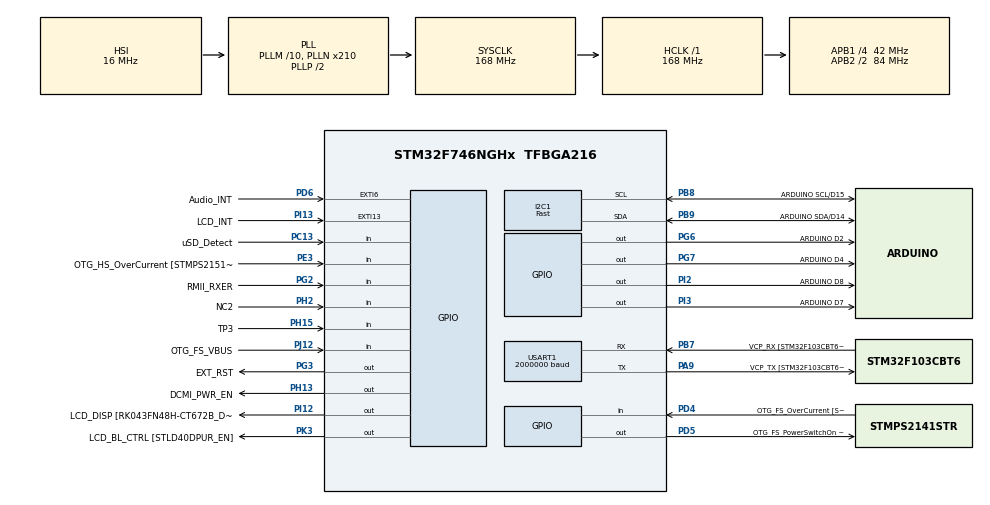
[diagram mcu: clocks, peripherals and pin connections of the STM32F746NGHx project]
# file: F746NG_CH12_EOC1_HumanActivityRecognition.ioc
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CORTEX_M7.CPU_DCache=Enabled
CORTEX_M7.CPU_ICache=Enabled
I2C1.I2C_Speed_Mode=I2C_Fast
I2C1.Timing=0x0040154A
Mcu.Family=STM32F7
Mcu.Name=STM32F746NGHx
Mcu.Package=TFBGA216
NVIC.PriorityGroup=NVIC_PRIORITYGROUP_4
NVIC.TIM2_IRQn=true\:1\:0\:true\:false\:true\:true\:true
PA0/WKUP.GPIO_Label=ARDUINO A0
PA0/WKUP.GPIO_Mode=GPIO_MODE_ANALOG
PA0/WKUP.GPIO_PuPd=GPIO_NOPULL
PA0/WKUP.Signal=ADCx_IN0
PA1.GPIO_Label=RMII_REF_CLK [LAN8742A-CZ-TR_REFCLK0]
PA1.Signal=ETH_REF_CLK
PA10.GPIO_Label=OTG_FS_ID
PA10.Signal=USB_OTG_FS_ID
PA11.GPIO_Label=OTG_FS_N
PA11.Signal=USB_OTG_FS_DM
PA12.GPIO_Label=OTG_FS_P
PA12.Signal=USB_OTG_FS_DP
PA13.GPIO_Label=SWDIO
PA13.Signal=SYS_JTMS-SWDIO
PA14.GPIO_Label=SWCLK
PA14.Signal=SYS_JTCK-SWCLK
PA15.GPIO_Label=ARDUINO PWM/D9
PA15.GPIO_ModeDefaultPP=GPIO_MODE_AF_PP
PA15.GPIO_PuPd=GPIO_NOPULL
PA15.GPIO_Speed=GPIO_SPEED_FREQ_LOW
PA15.Signal=S_TIM2_CH1_ETR
PA2.GPIO_Label=RMII_MDIO [LAN8742A-CZ-TR_MDIO]
PA2.Signal=ETH_MDIO
PA3.GPIO_Label=ULPI_D0 [USB3320C-EZK_D0]
PA3.Signal=USB_OTG_HS_ULPI_D0
PA4.GPIO_Label=DCMI_HSYNC
PA4.Signal=DCMI_HSYNC
PA5.GPIO_Label=ULPI_CLK [USB3320C-EZK_CLKOUT]
PA5.Signal=USB_OTG_HS_ULPI_CK
PA6.Signal=DCMI_PIXCLK
PA7.GPIO_Label=RMII_CRS_DV [LAN8742A-CZ-TR_CRS_DV]
PA7.Signal=ETH_CRS_DV
PA8.GPIO_Label=ARDUINO PWM/D10
PA8.GPIO_ModeDefaultPP=GPIO_MODE_AF_PP
PA8.GPIO_PuPd=GPIO_NOPULL
PA8.GPIO_Speed=GPIO_SPEED_FREQ_LOW
PA8.Signal=S_TIM1_CH1
PA9.GPIO_Label=VCP_TX [STM32F103CBT6_PA3]
PA9.GPIO_Mode=GPIO_MODE_AF_PP
PA9.GPIO_PuPd=GPIO_NOPULL
PA9.GPIO_Speed=GPIO_SPEED_FREQ_LOW
PA9.Mode=Asynchronous
PA9.Signal=USART1_TX
PB0.GPIO_Label=ULPI_D1 [USB3320C-EZK_D1]
PB0.Signal=USB_OTG_HS_ULPI_D1
PB1.GPIO_Label=ULPI_D2 [USB3320C-EZK_D2]
PB1.Signal=USB_OTG_HS_ULPI_D2
PB10.GPIO_Label=ULPI_D3 [USB3320C-EZK_D3]
PB10.Signal=USB_OTG_HS_ULPI_D3
PB11.GPIO_Label=ULPI_D4 [USB3320C-EZK_D4]
PB11.Signal=USB_OTG_HS_ULPI_D4
PB12.GPIO_Label=ULPI_D5 [USB3320C-EZK_D5]
PB12.Signal=USB_OTG_HS_ULPI_D5
PB13.GPIO_Label=ULPI_D6 [USB3320C-EZK_D6]
PB13.Signal=USB_OTG_HS_ULPI_D6
PB14.GPIO_Label=ARDUINO MISO/D12
PB14.GPIO_Mode=GPIO_MODE_AF_PP
PB14.GPIO_PuPd=GPIO_NOPULL
PB14.GPIO_Speed=GPIO_SPEED_FREQ_LOW
PB14.Signal=SPI2_MISO
PB15.GPIO_Label=ARDUINO MOSI/PWM/D11
PB15.GPIO_Mode=GPIO_MODE_AF_PP
PB15.GPIO_PuPd=GPIO_NOPULL
PB15.GPIO_Speed=GPIO_SPEED_FREQ_LOW
PB15.Signal=SPI2_MOSI
PB2.Signal=QUADSPI_CLK
PB3.GPIO_Label=SWO
PB3.Signal=SYS_JTDO-SWO
PB4.GPIO_Label=ARDUINO PWM/D3
PB4.GPIO_ModeDefaultPP=GPIO_MODE_AF_PP
PB4.GPIO_PuPd=GPIO_NOPULL
PB4.GPIO_Speed=GPIO_SPEED_FREQ_LOW
PB4.Signal=S_TIM3_CH1
PB5.GPIO_Label=ULPI_D7 [USB3320C-EZK_D7]
PB5.Signal=USB_OTG_HS_ULPI_D7
PB6.GPIO_Label=QSPI_NCS [N25Q128A13EF840E_S]
PB6.Signal=QUADSPI_BK1_NCS
PB7.GPIO_Label=VCP_RX [STM32F103CBT6_PA2]
PB7.GPIO_Mode=GPIO_MODE_AF_PP
PB7.GPIO_PuPd=GPIO_NOPULL
PB7.GPIO_Speed=GPIO_SPEED_FREQ_LOW
PB7.Mode=Asynchronous
PB7.Signal=USART1_RX
PB8.GPIO_Label=ARDUINO SCL/D15
PB8.GPIO_Mode=GPIO_MODE_AF_OD
PB8.GPIO_PuPd=GPIO_NOPULL
PB8.GPIO_Speed=GPIO_SPEED_FREQ_LOW
PB8.Mode=I2C
PB8.Signal=I2C1_SCL
PB9.GPIO_Label=ARDUINO SDA/D14
PB9.GPIO_Mode=GPIO_MODE_AF_OD
PB9.GPIO_PuPd=GPIO_NOPULL
PB9.GPIO_Speed=GPIO_SPEED_FREQ_LOW
PB9.Mode=I2C
PB9.Signal=I2C1_SDA
PC0.GPIO_Label=ULPI_STP [USB3320C-EZK_STP]
PC0.Signal=USB_OTG_HS_ULPI_STP
PC1.GPIO_Label=RMII_MDC [LAN8742A-CZ-TR_MDC]
PC1.Signal=ETH_MDC
PC10.GPIO_Label=SDMMC_D2
PC10.Signal=SDMMC1_D2
PC11.GPIO_Label=SDMMC_D3
PC11.Signal=SDMMC1_D3
PC12.GPIO_Label=SDMMC_CK
PC12.Signal=SDMMC1_CK
PC13.GPIO_Label=uSD_Detect
PC13.Signal=GPIO_Input
PC14/OSC32_IN.GPIO_Label=RCC_OSC32_IN
PC14/OSC32_IN.Signal=RCC_OSC32_IN
PC15/OSC32_OUT.GPIO_Label=RCC_OSC32_OUT
PC15/OSC32_OUT.Signal=RCC_OSC32_OUT
PC2.GPIO_Label=ULPI_DIR [USB3320C-EZK_DIR]
PC2.Signal=USB_OTG_HS_ULPI_DIR
PC3.GPIO_Label=FMC_SDCKE0 [MT48LC4M32B2B5-6A_CKE]
PC3.Signal=FMC_SDCKE0
PC4.GPIO_Label=RMII_RXD0 [LAN8742A-CZ-TR_RXD0]
PC4.Signal=ETH_RXD0
PC5.GPIO_Label=RMII_RXD1 [LAN8742A-CZ-TR_RXD1]
PC5.Signal=ETH_RXD1
PC6.GPIO_Label=ARDUINO TX/D1
PC6.Signal=USART6_TX
PC7.GPIO_Label=ARDUINO RX/D0
PC7.Signal=USART6_RX
PC8.Signal=SDMMC1_D0
PC9.Signal=SDMMC1_D1
PD0.GPIO_Label=FMC_D2 [MT48LC4M32B2B5-6A_DQ2]
PD0.Signal=FMC_D2_DA2
PD1.GPIO_Label=FMC_D3 [MT48LC4M32B2B5-6A_DQ3]
PD1.Signal=FMC_D3_DA3
PD10.GPIO_Label=FMC_D15 [MT48LC4M32B2B5-6A_DQ15]
PD10.Signal=FMC_D15_DA15
PD11.GPIO_Label=QSPI_D0 [N25Q128A13EF840E_DQ0]
PD11.Signal=QUADSPI_BK1_IO0
PD12.GPIO_Label=QSPI_D1 [N25Q128A13EF840E_DQ1]
PD12.Signal=QUADSPI_BK1_IO1
PD13.GPIO_Label=QSPI_D3 [N25Q128A13EF840E_DQ3]
PD13.Signal=QUADSPI_BK1_IO3
PD14.GPIO_Label=FMC_D0 [MT48LC4M32B2B5-6A_DQ0]
PD14.Signal=FMC_D0_DA0
PD15.GPIO_Label=FMC_D1 [MT48LC4M32B2B5-6A_DQ1]
PD15.Signal=FMC_D1_DA1
PD2.GPIO_Label=SDMMC_D0
PD2.Signal=SDMMC1_CMD
PD3.GPIO_Label=DCMI_D5
PD3.Signal=DCMI_D5
PD4.GPIO_Label=OTG_FS_OverCurrent [STMPS2141STR_Fault]
PD4.Signal=GPIO_Input
PD5.GPIO_Label=OTG_FS_PowerSwitchOn [STMPS2141STR_EN]
PD5.PinState=GPIO_PIN_SET
PD5.Signal=GPIO_Output
PD6.GPIO_Label=Audio_INT
PD6.GPIO_ModeDefaultEXTI=GPIO_MODE_EVT_RISING
PD6.Signal=GPXTI6
PD7.GPIO_Label=SPDIF_RX0 [74LVC1G04SE_4]
PD7.Signal=SPDIFRX_IN0
PD8.GPIO_Label=FMC_D13 [MT48LC4M32B2B5-6A_DQ13]
PD8.Signal=FMC_D13_DA13
PD9.GPIO_Label=FMC_D14 [MT48LC4M32B2B5-6A_DQ14]
PD9.Signal=FMC_D14_DA14
PE0.GPIO_Label=FMC_NBL0 [MT48LC4M32B2B5-6A_DQM0]
PE0.Signal=FMC_NBL0
PE1.GPIO_Label=FMC_NBL1 [MT48LC4M32B2B5-6A_DQM1]
PE1.Signal=FMC_NBL1
PE10.GPIO_Label=FMC_D7 [MT48LC4M32B2B5-6A_DQ7]
PE10.Signal=FMC_D7_DA7
PE11.GPIO_Label=FMC_D8 [MT48LC4M32B2B5-6A_DQ8]
PE11.Signal=FMC_D8_DA8
PE12.GPIO_Label=FMC_D9 [MT48LC4M32B2B5-6A_DQ9]
PE12.Signal=FMC_D9_DA9
PE13.GPIO_Label=FMC_D10 [MT48LC4M32B2B5-6A_DQ10]
PE13.Signal=FMC_D10_DA10
PE14.GPIO_Label=FMC_D11 [MT48LC4M32B2B5-6A_DQ11]
PE14.Signal=FMC_D11_DA11
PE15.GPIO_Label=FMC_D12 [MT48LC4M32B2B5-6A_DQ12]
PE15.Signal=FMC_D12_DA12
PE2.GPIO_Label=QSPI_D2 [N25Q128A13EF840E_DQ2]
PE2.Signal=QUADSPI_BK1_IO2
PE3.GPIO_Label=OTG_HS_OverCurrent [STMPS2151STR_FAULT]
PE3.Signal=GPIO_Input
PE4.GPIO_Label=LCD_B0 [RK043FN48H-CT672B_B0]
PE4.Signal=LTDC_B0
PE5.GPIO_Label=DCMI_D6
PE5.Signal=DCMI_D6
PE6.GPIO_Label=DCMI_D7
PE6.Signal=DCMI_D7
PE7.GPIO_Label=FMC_D4 [MT48LC4M32B2B5-6A_DQ4]
PE7.Signal=FMC_D4_DA4
PE8.GPIO_Label=FMC_D5 [MT48LC4M32B2B5-6A_DQ5]
PE8.Signal=FMC_D5_DA5
PE9.GPIO_Label=FMC_D6 [MT48LC4M32B2B5-6A_DQ6]
PE9.Signal=FMC_D6_DA6
PF0.GPIO_Label=FMC_A0 [MT48LC4M32B2B5-6A_A0]
PF0.Signal=FMC_A0
PF1.GPIO_Label=FMC_A1 [MT48LC4M32B2B5-6A_A1]
PF1.Signal=FMC_A1
PF10.GPIO_Label=ARDUINO A1
PF10.GPIO_Mode=GPIO_MODE_ANALOG
PF10.GPIO_PuPd=GPIO_NOPULL
PF10.Signal=ADC3_IN8
PF11.GPIO_Label=FMC_SDNRAS [MT48LC4M32B2B5-6A_RAS]
PF11.Signal=FMC_SDNRAS
PF12.GPIO_Label=FMC_A6 [MT48LC4M32B2B5-6A_A6]
PF12.Signal=FMC_A6
PF13.GPIO_Label=FMC_A7 [MT48LC4M32B2B5-6A_A7]
PF13.Signal=FMC_A7
PF14.GPIO_Label=FMC_A8 [MT48LC4M32B2B5-6A_A8]
PF14.Signal=FMC_A8
PF15.GPIO_Label=FMC_A9 [MT48LC4M32B2B5-6A_A9]
PF15.Signal=FMC_A9
PF2.GPIO_Label=FMC_A2 [MT48LC4M32B2B5-6A_A2]
PF2.Signal=FMC_A2
PF3.GPIO_Label=FMC_A3 [MT48LC4M32B2B5-6A_A3]
PF3.Signal=FMC_A3
PF4.GPIO_Label=FMC_A4 [MT48LC4M32B2B5-6A_A4]
PF4.Signal=FMC_A4
PF5.GPIO_Label=FMC_A5 [MT48LC4M32B2B5-6A_A5]
PF5.Signal=FMC_A5
PF6.GPIO_Label=ARDUINO A5
PF6.GPIO_Mode=GPIO_MODE_ANALOG
PF6.GPIO_PuPd=GPIO_NOPULL
PF6.Signal=ADC3_IN4
PF7.GPIO_Label=ARDUINO A4
PF7.GPIO_Mode=GPIO_MODE_ANALOG
PF7.GPIO_PuPd=GPIO_NOPULL
PF7.Signal=ADC3_IN5
PF8.GPIO_Label=ARDUINO A3
PF8.GPIO_Mode=GPIO_MODE_ANALOG
PF8.GPIO_PuPd=GPIO_NOPULL
PF8.Signal=ADC3_IN6
PF9.GPIO_Label=ARDUINO A2
PF9.GPIO_Mode=GPIO_MODE_ANALOG
PF9.GPIO_PuPd=GPIO_NOPULL
PF9.Signal=ADC3_IN7
PG0.GPIO_Label=FMC_A10 [MT48LC4M32B2B5-6A_A10]
PG0.Signal=FMC_A10
PG1.GPIO_Label=FMC_A11 [MT48LC4M32B2B5-6A_A11]
PG1.Signal=FMC_A11
PG10.GPIO_Label=SAI2_SDB [WM8994ECS/R_ADCDAT1]
PG10.Signal=SAI2_SD_B
PG11.GPIO_Label=RMII_TX_EN [LAN8742A-CZ-TR_TXEN]
PG11.Signal=ETH_TX_EN
PG12.GPIO_Label=LCD_B4 [RK043FN48H-CT672B_B4]
PG12.Signal=LTDC_B4
PG13.GPIO_Label=RMII_TXD0 [LAN8742A-CZ-TR_TXD0]
PG13.Signal=ETH_TXD0
PG14.GPIO_Label=RMII_TXD1 [LAN8742A-CZ-TR_TXD1]
PG14.Signal=ETH_TXD1
PG15.GPIO_Label=FMC_SDNCAS [MT48LC4M32B2B5-6A_CAS]
PG15.Signal=FMC_SDNCAS
PG2.GPIO_Label=RMII_RXER
PG2.Signal=GPIO_Input
PG3.GPIO_Label=EXT_RST
PG3.Signal=GPIO_Output
PG4.GPIO_Label=FMC_BA0 [MT48LC4M32B2B5-6A_BA0]
PG4.Signal=FMC_A14_BA0
PG5.GPIO_Label=FMC_BA1 [MT48LC4M32B2B5-6A_BA1]
PG5.Signal=FMC_A15_BA1
PG6.GPIO_Label=ARDUINO D2
PG6.Signal=GPIO_Output
PG7.GPIO_Label=ARDUINO D4
PG7.Signal=GPIO_Output
PG8.GPIO_Label=FMC_SDCLK [MT48LC4M32B2B5-6A_CLK]
PG8.Signal=FMC_SDCLK
PG9.GPIO_Label=DCMI_VSYNC
PG9.Signal=DCMI_VSYNC
PH0/OSC_IN.GPIO_Label=OSC_25M [NZ2520SB-25.00M_OUT]
PH0/OSC_IN.Signal=RCC_OSC_IN
PH1/OSC_OUT.Signal=RCC_OSC_OUT
PH10.GPIO_Label=DCMI_D1
PH10.Signal=DCMI_D1
PH11.GPIO_Label=DCMI_D2
PH11.Signal=DCMI_D2
PH12.GPIO_Label=DCMI_D3
PH12.Signal=DCMI_D3
PH13.GPIO_Label=DCMI_PWR_EN
PH13.Signal=GPIO_Output
PH14.GPIO_Label=DCMI_D4
PH14.Signal=DCMI_D4
PH15.GPIO_Label=TP3
PH15.Signal=GPIO_Input
PH2.GPIO_Label=NC2
PH2.Signal=GPIO_Input
PH3.GPIO_Label=FMC_SDNE0 [MT48LC4M32B2B5-6A_CS]
PH3.Signal=FMC_SDNE0
PH4.GPIO_Label=ULPI_NXT [USB3320C-EZK_NXT]
PH4.Signal=USB_OTG_HS_ULPI_NXT
PH5.GPIO_Label=FMC_SDNME [MT48LC4M32B2B5-6A_WE]
PH5.Signal=FMC_SDNWE
PH6.GPIO_Label=ARDUINO PWM/D6
PH6.Signal=S_TIM12_CH1
PH7.GPIO_Label=LCD_SCL [RK043FN48H-CT672B_SCL]
PH7.Signal=I2C3_SCL
PH8.GPIO_Label=LCD_SDA [RK043FN48H-CT672B_SDA]
PH8.Signal=I2C3_SDA
PH9.GPIO_Label=DCMI_D0
PH9.Signal=DCMI_D0
PI0.GPIO_Label=ARDUINO PWM/CS/D5
PI0.GPIO_ModeDefaultPP=GPIO_MODE_AF_PP
PI0.GPIO_PuPd=GPIO_NOPULL
PI0.GPIO_Speed=GPIO_SPEED_FREQ_LOW
PI0.Signal=S_TIM5_CH4
PI1.GPIO_Label=ARDUINO SCK/D13
PI1.GPIO_Mode=GPIO_MODE_AF_PP
PI1.GPIO_PuPd=GPIO_NOPULL
PI1.GPIO_Speed=GPIO_SPEED_FREQ_LOW
PI1.Signal=SPI2_SCK
PI10.GPIO_Label=LCD_HSYNC [RK043FN48H-CT672B_HSYNC]
PI10.Signal=LTDC_HSYNC
PI12.GPIO_Label=LCD_DISP [RK043FN48H-CT672B_DISP] 
PI12.Signal=GPIO_Output
PI13.GPIO_Label=LCD_INT
PI13.GPIO_ModeDefaultEXTI=GPIO_MODE_EVT_RISING
PI13.Signal=GPXTI13
PI14.GPIO_Label=LCD_CLK [RK043FN48H-CT672B_CLK]
PI14.Signal=LTDC_CLK
PI15.GPIO_Label=LCD_R0 [RK043FN48H-CT672B_R0]
PI15.Signal=LTDC_R0
PI2.GPIO_Label=ARDUINO D8
PI2.Signal=GPIO_Output
PI3.GPIO_Label=ARDUINO D7
PI3.Signal=GPIO_Output
PI4.GPIO_Label=SAI2_MCLKA [WM8994ECS/R_MCLK1]
PI4.Signal=SAI2_MCLK_A
PI5.GPIO_Label=SAI2_SCKA [WM8994ECS/R_BCLK1]
PI5.Signal=SAI2_SCK_A
PI6.GPIO_Label=SAI2_SDA [WM8994ECS/R_DACDAT1]
PI6.Signal=SAI2_SD_A
PI7.GPIO_Label=SAI2_FSA [WM8994ECS/R_LRCLK1]
PI7.Signal=SAI2_FS_A
PI8.GPIO_Label=NC1 [TP2]
PI8.Signal=RTC_TS
PI9.GPIO_Label=LCD_VSYNC [RK043FN48H-CT672B_VSYNC]
PI9.Signal=LTDC_VSYNC
PJ0.GPIO_Label=LCD_R1 [RK043FN48H-CT672B_R1]
PJ0.Signal=LTDC_R1
PJ1.GPIO_Label=LCD_R2 [RK043FN48H-CT672B_R2]
PJ1.Signal=LTDC_R2
PJ10.GPIO_Label=LCD_G3 [RK043FN48H-CT672B_G3]
PJ10.Signal=LTDC_G3
PJ11.GPIO_Label=LCD_G4 [RK043FN48H-CT672B_G4]
PJ11.Signal=LTDC_G4
PJ12.GPIO_Label=OTG_FS_VBUS
PJ12.Signal=GPIO_Input
PJ13.GPIO_Label=LCD_B1 [RK043FN48H-CT672B_B1]
PJ13.Signal=LTDC_B1
PJ14.GPIO_Label=LCD_B2 [RK043FN48H-CT672B_B2]
PJ14.Signal=LTDC_B2
PJ15.GPIO_Label=LCD_B3 [RK043FN48H-CT672B_B3]
PJ15.Signal=LTDC_B3
PJ2.GPIO_Label=LCD_R3 [RK043FN48H-CT672B_R3]
PJ2.Signal=LTDC_R3
PJ3.GPIO_Label=LCD_R4 [RK043FN48H-CT672B_R4]
PJ3.Signal=LTDC_R4
PJ4.GPIO_Label=LCD_R5 [RK043FN48H-CT672B_R5]
PJ4.Signal=LTDC_R5
PJ5.GPIO_Label=LCD_R6 [RK043FN48H-CT672B_R6]
PJ5.Signal=LTDC_R6
PJ6.GPIO_Label=LCD_R7 [RK043FN48H-CT672B_R7]
PJ6.Signal=LTDC_R7
PJ7.GPIO_Label=LCD_G0 [RK043FN48H-CT672B_G0]
PJ7.Signal=LTDC_G0
PJ8.GPIO_Label=LCD_G1 [RK043FN48H-CT672B_G1]
PJ8.Signal=LTDC_G1
PJ9.GPIO_Label=LCD_G2 [RK043FN48H-CT672B_G2]
PJ9.Signal=LTDC_G2
PK0.GPIO_Label=LCD_G5 [RK043FN48H-CT672B_G5]
PK0.Signal=LTDC_G5
PK1.GPIO_Label=LCD_G6 [RK043FN48H-CT672B_G6]
PK1.Signal=LTDC_G6
PK2.GPIO_Label=LCD_G7 [RK043FN48H-CT672B_G7]
PK2.Signal=LTDC_G7
PK3.GPIO_Label=LCD_BL_CTRL [STLD40DPUR_EN]
PK3.Signal=GPIO_Output
PK4.GPIO_Label=LCD_B5 [RK043FN48H-CT672B_B5]
PK4.Signal=LTDC_B5
PK5.GPIO_Label=LCD_B6 [RK043FN48H-CT672B_B6]
PK5.Signal=LTDC_B6
PK6.GPIO_Label=LCD_B7 [RK043FN48H-CT672B_B7]
PK6.Signal=LTDC_B7
PK7.GPIO_Label=LCD_DE [RK043FN48H-CT672B_DE]
PK7.Signal=LTDC_DE
ProjectManager.HeapSize=0x200
ProjectManager.StackSize=0x400
ProjectManager.TargetToolchain=STM32CubeIDE
RCC.AHBFreq_Value=168000000
RCC.APB1CLKDivider=RCC_HCLK_DIV4
RCC.APB1Freq_Value=42000000
RCC.APB1TimFreq_Value=84000000
RCC.APB2CLKDivider=RCC_HCLK_DIV2
RCC.APB2Freq_Value=84000000
RCC.APB2TimFreq_Value=168000000
RCC.CortexFreq_Value=168000000
RCC.HCLKFreq_Value=168000000
RCC.HSE_VALUE=25000000
RCC.HSI_VALUE=16000000
RCC.LSE_VALUE=32768
RCC.PLLM=10
RCC.PLLN=210
RCC.PLLSourceVirtual=RCC_PLLSOURCE_HSI
RCC.SYSCLKFreq_VALUE=168000000
RCC.SYSCLKSource=RCC_SYSCLKSOURCE_PLLCLK
RCC.USBFreq_Value=168000000
RCC.VCOOutputFreq_Value=336000000
SH.ADCx_IN0.0=ADC3_IN0
SH.FMC_A0.0=FMC_A0
SH.FMC_A1.0=FMC_A1
SH.FMC_A10.0=FMC_A10
SH.FMC_A11.0=FMC_A11
SH.FMC_A14_BA0.0=FMC_BA0
SH.FMC_A15_BA1.0=FMC_BA1
SH.FMC_A2.0=FMC_A2
SH.FMC_A3.0=FMC_A3
SH.FMC_A4.0=FMC_A4
SH.FMC_A5.0=FMC_A5
SH.FMC_A6.0=FMC_A6
SH.FMC_A7.0=FMC_A7
SH.FMC_A8.0=FMC_A8
SH.FMC_A9.0=FMC_A9
SH.FMC_D0_DA0.0=FMC_D0
SH.FMC_D10_DA10.0=FMC_D10
SH.FMC_D11_DA11.0=FMC_D11
SH.FMC_D12_DA12.0=FMC_D12
SH.FMC_D13_DA13.0=FMC_D13
SH.FMC_D14_DA14.0=FMC_D14
SH.FMC_D15_DA15.0=FMC_D15
SH.FMC_D1_DA1.0=FMC_D1
SH.FMC_D2_DA2.0=FMC_D2
SH.FMC_D3_DA3.0=FMC_D3
SH.FMC_D4_DA4.0=FMC_D4
SH.FMC_D5_DA5.0=FMC_D5
SH.FMC_D6_DA6.0=FMC_D6
SH.FMC_D7_DA7.0=FMC_D7
SH.FMC_D8_DA8.0=FMC_D8
SH.FMC_D9_DA9.0=FMC_D9
SH.FMC_NBL0.0=FMC_NBL0
SH.FMC_NBL1.0=FMC_NBL1
SH.FMC_SDCLK.0=FMC_SDCLK
SH.FMC_SDNCAS.0=FMC_SDNCAS
SH.FMC_SDNRAS.0=FMC_SDNRAS
SH.FMC_SDNWE.0=FMC_SDNWE
SH.S_TIM12_CH1.0=TIM12_CH1
SH.S_TIM1_CH1.0=TIM1_CH1
SH.S_TIM2_CH1_ETR.0=TIM2_CH1
SH.S_TIM3_CH1.0=TIM3_CH1
SH.S_TIM5_CH4.0=TIM5_CH4
TIM2.Period=19999
TIM2.Prescaler=83
USART1.BaudRate=2000000
USART1.VirtualMode-Asynchronous=VM_ASYNC
VP_TIM2_VS_ClockSourceINT.Mode=Internal
board=STM32F746G-DISCO

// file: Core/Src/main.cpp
/* USER CODE BEGIN Header */
/**
  ******************************************************************************
  * @file           : main.c
  * @brief          : Main program body
  ******************************************************************************
  * @attention
  *
  * Copyright (c) 2024 STMicroelectronics.
  * All rights reserved.
  *
  * This software is licensed under terms that can be found in the LICENSE file
  * in the root directory of this software component.
  * If no LICENSE file comes with this software, it is provided AS-IS.
  *
  ******************************************************************************
  */
/* USER CODE END Header */
#include "main.h"

/* USER CODE BEGIN Includes */
#include "lib_serial.h"
#include "har_feature_extraction.h"
#include "mlp_har_model.h"
#include "lib_model.h"
#include "lib_bno055.h"
/* USER CODE END Includes */

I2C_HandleTypeDef hi2c1;

TIM_HandleTypeDef htim2;

UART_HandleTypeDef huart1;

void SystemClock_Config(void);
static void MX_GPIO_Init(void);
static void MX_I2C1_Init(void);
static void MX_USART1_UART_Init(void);
static void MX_TIM2_Init(void);

/* USER CODE BEGIN 0 */
#define SIZE_INPUT	VECTOR_LEN

HAR_FtrExtOutput features;

volatile uint32_t counter = 0, startTick = 0, stopTick = 0;
volatile uint8_t isDataReady = 0;
float accel[3][SIZE_INPUT] = {0};

void HAL_TIM_PeriodElapsedCallback(TIM_HandleTypeDef *htim)
{
	if (htim->Instance == htim2.Instance)
	{
		LIB_BNO055_ReadAccelXYZ(&accel[0][counter], &accel[1][counter], &accel[2][counter]);
		counter = counter + 1;
		if (counter >= SIZE_INPUT)
		{
			isDataReady = 1;
			counter = 0;
		}

	}
}

constexpr int kTensorArenaSize = 136 * 1024;
alignas(16) static uint8_t tensor_arena[kTensorArenaSize];
TfLiteTensor* input = nullptr;
TfLiteTensor* output = nullptr;

/* USER CODE END 0 */

int main(void)
{

  /* MCU Configuration--------------------------------------------------------*/

  /* Reset of all peripherals, Initializes the Flash interface and the Systick. */
  HAL_Init();

  /* Configure the system clock */
  SystemClock_Config();

  /* Initialize all configured peripherals */
  MX_GPIO_Init();
  MX_I2C1_Init();
  MX_USART1_UART_Init();
  MX_TIM2_Init();
  /* USER CODE BEGIN 2 */
  LIB_BNO055_Init();
  HAL_TIM_Base_Start_IT(&htim2);
  LIB_MODEL_Init(converted_model_tflite, &input, tensor_arena, kTensorArenaSize);

  /* USER CODE END 2 */

  /* Infinite loop */
  while (1)
  {

    /* USER CODE BEGIN 3 */
	if (isDataReady == 1)
	{
		isDataReady = 0;
		/*SEND AUDIO DATA TO PC*/
		LIB_SERIAL_Transmit(accel, sizeof(accel)/sizeof(float), TYPE_F32);
		/*RUN INFERENCE ON MCU*/
		har_extract_features(accel, &features);
		memcpy(input->data.f, (void*)&features, sizeof(features));
		LIB_MODEL_Run(&output);
		/*SEND INFERENCE RESULTS TO PC*/
		LIB_SERIAL_Transmit(output->data.f, 6, TYPE_F32);

	}
  }
  /* USER CODE END 3 */
}

void SystemClock_Config(void)
{
  RCC_OscInitTypeDef RCC_OscInitStruct = {0};
  RCC_ClkInitTypeDef RCC_ClkInitStruct = {0};

  /** Configure the main internal regulator output voltage
  */
  __HAL_RCC_PWR_CLK_ENABLE();
  __HAL_PWR_VOLTAGESCALING_CONFIG(PWR_REGULATOR_VOLTAGE_SCALE2);
  /** Initializes the RCC Oscillators according to the specified parameters
  * in the RCC_OscInitTypeDef structure.
  */
  RCC_OscInitStruct.OscillatorType = RCC_OSCILLATORTYPE_HSI;
  RCC_OscInitStruct.HSIState = RCC_HSI_ON;
  RCC_OscInitStruct.HSICalibrationValue = RCC_HSICALIBRATION_DEFAULT;
  RCC_OscInitStruct.PLL.PLLState = RCC_PLL_ON;
  RCC_OscInitStruct.PLL.PLLSource = RCC_PLLSOURCE_HSI;
  RCC_OscInitStruct.PLL.PLLM = 10;
  RCC_OscInitStruct.PLL.PLLN = 210;
  RCC_OscInitStruct.PLL.PLLP = RCC_PLLP_DIV2;
  RCC_OscInitStruct.PLL.PLLQ = 2;
  if (HAL_RCC_OscConfig(&RCC_OscInitStruct) != HAL_OK)
  {
    Error_Handler();
  }
  /** Initializes the CPU, AHB and APB buses clocks
  */
  RCC_ClkInitStruct.ClockType = RCC_CLOCKTYPE_HCLK|RCC_CLOCKTYPE_SYSCLK
                              |RCC_CLOCKTYPE_PCLK1|RCC_CLOCKTYPE_PCLK2;
  RCC_ClkInitStruct.SYSCLKSource = RCC_SYSCLKSOURCE_PLLCLK;
  RCC_ClkInitStruct.AHBCLKDivider = RCC_SYSCLK_DIV1;
  RCC_ClkInitStruct.APB1CLKDivider = RCC_HCLK_DIV4;
  RCC_ClkInitStruct.APB2CLKDivider = RCC_HCLK_DIV2;

  if (HAL_RCC_ClockConfig(&RCC_ClkInitStruct, FLASH_LATENCY_5) != HAL_OK)
  {
    Error_Handler();
  }
}

static void MX_I2C1_Init(void)
{

  hi2c1.Instance = I2C1;
  hi2c1.Init.Timing = 0x0040154A;
  hi2c1.Init.OwnAddress1 = 0;
  hi2c1.Init.AddressingMode = I2C_ADDRESSINGMODE_7BIT;
  hi2c1.Init.DualAddressMode = I2C_DUALADDRESS_DISABLE;
  hi2c1.Init.OwnAddress2 = 0;
  hi2c1.Init.OwnAddress2Masks = I2C_OA2_NOMASK;
  hi2c1.Init.GeneralCallMode = I2C_GENERALCALL_DISABLE;
  hi2c1.Init.NoStretchMode = I2C_NOSTRETCH_DISABLE;
  if (HAL_I2C_Init(&hi2c1) != HAL_OK)
  {
    Error_Handler();
  }
  /** Configure Analogue filter
  */
  if (HAL_I2CEx_ConfigAnalogFilter(&hi2c1, I2C_ANALOGFILTER_ENABLE) != HAL_OK)
  {
    Error_Handler();
  }
  /** Configure Digital filter
  */
  if (HAL_I2CEx_ConfigDigitalFilter(&hi2c1, 0) != HAL_OK)
  {
    Error_Handler();
  }

}

static void MX_TIM2_Init(void)
{

  TIM_ClockConfigTypeDef sClockSourceConfig = {0};
  TIM_MasterConfigTypeDef sMasterConfig = {0};

  htim2.Instance = TIM2;
  htim2.Init.Prescaler = 83;
  htim2.Init.CounterMode = TIM_COUNTERMODE_UP;
  htim2.Init.Period = 19999;
  htim2.Init.ClockDivision = TIM_CLOCKDIVISION_DIV1;
  htim2.Init.AutoReloadPreload = TIM_AUTORELOAD_PRELOAD_DISABLE;
  if (HAL_TIM_Base_Init(&htim2) != HAL_OK)
  {
    Error_Handler();
  }
  sClockSourceConfig.ClockSource = TIM_CLOCKSOURCE_INTERNAL;
  if (HAL_TIM_ConfigClockSource(&htim2, &sClockSourceConfig) != HAL_OK)
  {
    Error_Handler();
  }
  sMasterConfig.MasterOutputTrigger = TIM_TRGO_RESET;
  sMasterConfig.MasterSlaveMode = TIM_MASTERSLAVEMODE_DISABLE;
  if (HAL_TIMEx_MasterConfigSynchronization(&htim2, &sMasterConfig) != HAL_OK)
  {
    Error_Handler();
  }

}

static void MX_USART1_UART_Init(void)
{

  huart1.Instance = USART1;
  huart1.Init.BaudRate = 2000000;
  huart1.Init.WordLength = UART_WORDLENGTH_8B;
  huart1.Init.StopBits = UART_STOPBITS_1;
  huart1.Init.Parity = UART_PARITY_NONE;
  huart1.Init.Mode = UART_MODE_TX_RX;
  huart1.Init.HwFlowCtl = UART_HWCONTROL_NONE;
  huart1.Init.OverSampling = UART_OVERSAMPLING_16;
  huart1.Init.OneBitSampling = UART_ONE_BIT_SAMPLE_DISABLE;
  huart1.AdvancedInit.AdvFeatureInit = UART_ADVFEATURE_NO_INIT;
  if (HAL_UART_Init(&huart1) != HAL_OK)
  {
    Error_Handler();
  }

}

static void MX_GPIO_Init(void)
{
  GPIO_InitTypeDef GPIO_InitStruct = {0};

  /* GPIO Ports Clock Enable */
  __HAL_RCC_GPIOE_CLK_ENABLE();
  __HAL_RCC_GPIOG_CLK_ENABLE();
  __HAL_RCC_GPIOB_CLK_ENABLE();
  __HAL_RCC_GPIOD_CLK_ENABLE();
  __HAL_RCC_GPIOC_CLK_ENABLE();
  __HAL_RCC_GPIOA_CLK_ENABLE();
  __HAL_RCC_GPIOJ_CLK_ENABLE();
  __HAL_RCC_GPIOI_CLK_ENABLE();
  __HAL_RCC_GPIOK_CLK_ENABLE();
  __HAL_RCC_GPIOF_CLK_ENABLE();
  __HAL_RCC_GPIOH_CLK_ENABLE();

  /*Configure GPIO pin Output Level */
  HAL_GPIO_WritePin(OTG_FS_PowerSwitchOn_GPIO_Port, OTG_FS_PowerSwitchOn_Pin, GPIO_PIN_SET);

  /*Configure GPIO pin Output Level */
  HAL_GPIO_WritePin(GPIOI, ARDUINO_D7_Pin|ARDUINO_D8_Pin|LCD_DISP_Pin, GPIO_PIN_RESET);

  /*Configure GPIO pin Output Level */
  HAL_GPIO_WritePin(LCD_BL_CTRL_GPIO_Port, LCD_BL_CTRL_Pin, GPIO_PIN_RESET);

  /*Configure GPIO pin Output Level */
  HAL_GPIO_WritePin(DCMI_PWR_EN_GPIO_Port, DCMI_PWR_EN_Pin, GPIO_PIN_RESET);

  /*Configure GPIO pin Output Level */
  HAL_GPIO_WritePin(GPIOG, ARDUINO_D4_Pin|ARDUINO_D2_Pin|EXT_RST_Pin, GPIO_PIN_RESET);

  /*Configure GPIO pin : LCD_B0_Pin */
  GPIO_InitStruct.Pin = LCD_B0_Pin;
  GPIO_InitStruct.Mode = GPIO_MODE_AF_PP;
  GPIO_InitStruct.Pull = GPIO_NOPULL;
  GPIO_InitStruct.Speed = GPIO_SPEED_FREQ_LOW;
  GPIO_InitStruct.Alternate = GPIO_AF14_LTDC;
  HAL_GPIO_Init(LCD_B0_GPIO_Port, &GPIO_InitStruct);

  /*Configure GPIO pin : OTG_HS_OverCurrent_Pin */
  GPIO_InitStruct.Pin = OTG_HS_OverCurrent_Pin;
  GPIO_InitStruct.Mode = GPIO_MODE_INPUT;
  GPIO_InitStruct.Pull = GPIO_NOPULL;
  HAL_GPIO_Init(OTG_HS_OverCurrent_GPIO_Port, &GPIO_InitStruct);

  /*Configure GPIO pin : QSPI_D2_Pin */
  GPIO_InitStruct.Pin = QSPI_D2_Pin;
  GPIO_InitStruct.Mode = GPIO_MODE_AF_PP;
  GPIO_InitStruct.Pull = GPIO_NOPULL;
  GPIO_InitStruct.Speed = GPIO_SPEED_FREQ_VERY_HIGH;
  GPIO_InitStruct.Alternate = GPIO_AF9_QUADSPI;
  HAL_GPIO_Init(QSPI_D2_GPIO_Port, &GPIO_InitStruct);

  /*Configure GPIO pins : RMII_TXD1_Pin RMII_TXD0_Pin RMII_TX_EN_Pin */
  GPIO_InitStruct.Pin = RMII_TXD1_Pin|RMII_TXD0_Pin|RMII_TX_EN_Pin;
  GPIO_InitStruct.Mode = GPIO_MODE_AF_PP;
  GPIO_InitStruct.Pull = GPIO_NOPULL;
  GPIO_InitStruct.Speed = GPIO_SPEED_FREQ_VERY_HIGH;
  GPIO_InitStruct.Alternate = GPIO_AF11_ETH;
  HAL_GPIO_Init(GPIOG, &GPIO_InitStruct);

  /*Configure GPIO pins : FMC_NBL1_Pin FMC_NBL0_Pin FMC_D5_Pin FMC_D6_Pin
                           FMC_D8_Pin FMC_D11_Pin FMC_D4_Pin FMC_D7_Pin
                           FMC_D9_Pin FMC_D12_Pin FMC_D10_Pin */
  GPIO_InitStruct.Pin = FMC_NBL1_Pin|FMC_NBL0_Pin|FMC_D5_Pin|FMC_D6_Pin
                          |FMC_D8_Pin|FMC_D11_Pin|FMC_D4_Pin|FMC_D7_Pin
                          |FMC_D9_Pin|FMC_D12_Pin|FMC_D10_Pin;
  GPIO_InitStruct.Mode = GPIO_MODE_AF_PP;
  GPIO_InitStruct.Pull = GPIO_NOPULL;
  GPIO_InitStruct.Speed = GPIO_SPEED_FREQ_VERY_HIGH;
  GPIO_InitStruct.Alternate = GPIO_AF12_FMC;
  HAL_GPIO_Init(GPIOE, &GPIO_InitStruct);

  /*Configure GPIO pins : ULPI_D7_Pin ULPI_D6_Pin ULPI_D5_Pin ULPI_D3_Pin
                           ULPI_D2_Pin ULPI_D1_Pin ULPI_D4_Pin */
  GPIO_InitStruct.Pin = ULPI_D7_Pin|ULPI_D6_Pin|ULPI_D5_Pin|ULPI_D3_Pin
                          |ULPI_D2_Pin|ULPI_D1_Pin|ULPI_D4_Pin;
  GPIO_InitStruct.Mode = GPIO_MODE_AF_PP;
  GPIO_InitStruct.Pull = GPIO_NOPULL;
  GPIO_InitStruct.Speed = GPIO_SPEED_FREQ_VERY_HIGH;
  GPIO_InitStruct.Alternate = GPIO_AF10_OTG_HS;
  HAL_GPIO_Init(GPIOB, &GPIO_InitStruct);

  /*Configure GPIO pin : ARDUINO_PWM_D3_Pin */
  GPIO_InitStruct.Pin = ARDUINO_PWM_D3_Pin;
  GPIO_InitStruct.Mode = GPIO_MODE_AF_PP;
  GPIO_InitStruct.Pull = GPIO_NOPULL;
  GPIO_InitStruct.Speed = GPIO_SPEED_FREQ_LOW;
  GPIO_InitStruct.Alternate = GPIO_AF2_TIM3;
  HAL_GPIO_Init(ARDUINO_PWM_D3_GPIO_Port, &GPIO_InitStruct);

  /*Configure GPIO pin : SPDIF_RX0_Pin */
  GPIO_InitStruct.Pin = SPDIF_RX0_Pin;
  GPIO_InitStruct.Mode = GPIO_MODE_AF_PP;
  GPIO_InitStruct.Pull = GPIO_NOPULL;
  GPIO_InitStruct.Speed = GPIO_SPEED_FREQ_LOW;
  GPIO_InitStruct.Alternate = GPIO_AF8_SPDIFRX;
  HAL_GPIO_Init(SPDIF_RX0_GPIO_Port, &GPIO_InitStruct);

  /*Configure GPIO pins : SDMMC_CK_Pin SDMMC_D3_Pin SDMMC_D2_Pin PC9
                           PC8 */
  GPIO_InitStruct.Pin = SDMMC_CK_Pin|SDMMC_D3_Pin|SDMMC_D2_Pin|GPIO_PIN_9
                          |GPIO_PIN_8;
  GPIO_InitStruct.Mode = GPIO_MODE_AF_PP;
  GPIO_InitStruct.Pull = GPIO_NOPULL;
  GPIO_InitStruct.Speed = GPIO_SPEED_FREQ_VERY_HIGH;
  GPIO_InitStruct.Alternate = GPIO_AF12_SDMMC1;
  HAL_GPIO_Init(GPIOC, &GPIO_InitStruct);

  /*Configure GPIO pins : DCMI_D6_Pin DCMI_D7_Pin */
  GPIO_InitStruct.Pin = DCMI_D6_Pin|DCMI_D7_Pin;
  GPIO_InitStruct.Mode = GPIO_MODE_AF_PP;
  GPIO_InitStruct.Pull = GPIO_NOPULL;
  GPIO_InitStruct.Speed = GPIO_SPEED_FREQ_LOW;
  GPIO_InitStruct.Alternate = GPIO_AF13_DCMI;
  HAL_GPIO_Init(GPIOE, &GPIO_InitStruct);

  /*Configure GPIO pin : QSPI_NCS_Pin */
  GPIO_InitStruct.Pin = QSPI_NCS_Pin;
  GPIO_InitStruct.Mode = GPIO_MODE_AF_PP;
  GPIO_InitStruct.Pull = GPIO_NOPULL;
  GPIO_InitStruct.Speed = GPIO_SPEED_FREQ_VERY_HIGH;
  GPIO_InitStruct.Alternate = GPIO_AF10_QUADSPI;
  HAL_GPIO_Init(QSPI_NCS_GPIO_Port, &GPIO_InitStruct);

  /*Configure GPIO pins : FMC_SDNCAS_Pin FMC_SDCLK_Pin FMC_A11_Pin FMC_A10_Pin
                           FMC_BA1_Pin FMC_BA0_Pin */
  GPIO_InitStruct.Pin = FMC_SDNCAS_Pin|FMC_SDCLK_Pin|FMC_A11_Pin|FMC_A10_Pin
                          |FMC_BA1_Pin|FMC_BA0_Pin;
  GPIO_InitStruct.Mode = GPIO_MODE_AF_PP;
  GPIO_InitStruct.Pull = GPIO_NOPULL;
  GPIO_InitStruct.Speed = GPIO_SPEED_FREQ_VERY_HIGH;
  GPIO_InitStruct.Alternate = GPIO_AF12_FMC;
  HAL_GPIO_Init(GPIOG, &GPIO_InitStruct);

  /*Configure GPIO pins : LCD_B1_Pin LCD_B2_Pin LCD_B3_Pin LCD_G4_Pin
                           LCD_G1_Pin LCD_G3_Pin LCD_G0_Pin LCD_G2_Pin
                           LCD_R7_Pin LCD_R5_Pin LCD_R6_Pin LCD_R4_Pin
                           LCD_R3_Pin LCD_R1_Pin LCD_R2_Pin */
  GPIO_InitStruct.Pin = LCD_B1_Pin|LCD_B2_Pin|LCD_B3_Pin|LCD_G4_Pin
                          |LCD_G1_Pin|LCD_G3_Pin|LCD_G0_Pin|LCD_G2_Pin
                          |LCD_R7_Pin|LCD_R5_Pin|LCD_R6_Pin|LCD_R4_Pin
                          |LCD_R3_Pin|LCD_R1_Pin|LCD_R2_Pin;
  GPIO_InitStruct.Mode = GPIO_MODE_AF_PP;
  GPIO_InitStruct.Pull = GPIO_NOPULL;
  GPIO_InitStruct.Speed = GPIO_SPEED_FREQ_LOW;
  GPIO_InitStruct.Alternate = GPIO_AF14_LTDC;
  HAL_GPIO_Init(GPIOJ, &GPIO_InitStruct);

  /*Configure GPIO pin : OTG_FS_VBUS_Pin */
  GPIO_InitStruct.Pin = OTG_FS_VBUS_Pin;
  GPIO_InitStruct.Mode = GPIO_MODE_INPUT;
  GPIO_InitStruct.Pull = GPIO_NOPULL;
  HAL_GPIO_Init(OTG_FS_VBUS_GPIO_Port, &GPIO_InitStruct);

  /*Configure GPIO pin : Audio_INT_Pin */
  GPIO_InitStruct.Pin = Audio_INT_Pin;
  GPIO_InitStruct.Mode = GPIO_MODE_EVT_RISING;
  GPIO_InitStruct.Pull = GPIO_NOPULL;
  HAL_GPIO_Init(Audio_INT_GPIO_Port, &GPIO_InitStruct);

  /*Configure GPIO pins : FMC_D2_Pin FMC_D3_Pin FMC_D1_Pin FMC_D15_Pin
                           FMC_D0_Pin FMC_D14_Pin FMC_D13_Pin */
  GPIO_InitStruct.Pin = FMC_D2_Pin|FMC_D3_Pin|FMC_D1_Pin|FMC_D15_Pin
                          |FMC_D0_Pin|FMC_D14_Pin|FMC_D13_Pin;
  GPIO_InitStruct.Mode = GPIO_MODE_AF_PP;
  GPIO_InitStruct.Pull = GPIO_NOPULL;
  GPIO_InitStruct.Speed = GPIO_SPEED_FREQ_VERY_HIGH;
  GPIO_InitStruct.Alternate = GPIO_AF12_FMC;
  HAL_GPIO_Init(GPIOD, &GPIO_InitStruct);

  /*Configure GPIO pins : OTG_FS_P_Pin OTG_FS_N_Pin OTG_FS_ID_Pin */
  GPIO_InitStruct.Pin = OTG_FS_P_Pin|OTG_FS_N_Pin|OTG_FS_ID_Pin;
  GPIO_InitStruct.Mode = GPIO_MODE_AF_PP;
  GPIO_InitStruct.Pull = GPIO_NOPULL;
  GPIO_InitStruct.Speed = GPIO_SPEED_FREQ_VERY_HIGH;
  GPIO_InitStruct.Alternate = GPIO_AF10_OTG_FS;
  HAL_GPIO_Init(GPIOA, &GPIO_InitStruct);

  /*Configure GPIO pins : SAI2_MCLKA_Pin SAI2_SCKA_Pin SAI2_FSA_Pin SAI2_SDA_Pin */
  GPIO_InitStruct.Pin = SAI2_MCLKA_Pin|SAI2_SCKA_Pin|SAI2_FSA_Pin|SAI2_SDA_Pin;
  GPIO_InitStruct.Mode = GPIO_MODE_AF_PP;
  GPIO_InitStruct.Pull = GPIO_NOPULL;
  GPIO_InitStruct.Speed = GPIO_SPEED_FREQ_LOW;
  GPIO_InitStruct.Alternate = GPIO_AF10_SAI2;
  HAL_GPIO_Init(GPIOI, &GPIO_InitStruct);

  /*Configure GPIO pins : LCD_DE_Pin LCD_B7_Pin LCD_B6_Pin LCD_B5_Pin
                           LCD_G6_Pin LCD_G7_Pin LCD_G5_Pin */
  GPIO_InitStruct.Pin = LCD_DE_Pin|LCD_B7_Pin|LCD_B6_Pin|LCD_B5_Pin
                          |LCD_G6_Pin|LCD_G7_Pin|LCD_G5_Pin;
  GPIO_InitStruct.Mode = GPIO_MODE_AF_PP;
  GPIO_InitStruct.Pull = GPIO_NOPULL;
  GPIO_InitStruct.Speed = GPIO_SPEED_FREQ_LOW;
  GPIO_InitStruct.Alternate = GPIO_AF14_LTDC;
  HAL_GPIO_Init(GPIOK, &GPIO_InitStruct);

  /*Configure GPIO pin : LCD_B4_Pin */
  GPIO_InitStruct.Pin = LCD_B4_Pin;
  GPIO_InitStruct.Mode = GPIO_MODE_AF_PP;
  GPIO_InitStruct.Pull = GPIO_NOPULL;
  GPIO_InitStruct.Speed = GPIO_SPEED_FREQ_LOW;
  GPIO_InitStruct.Alternate = GPIO_AF9_LTDC;
  HAL_GPIO_Init(LCD_B4_GPIO_Port, &GPIO_InitStruct);

  /*Configure GPIO pin : SAI2_SDB_Pin */
  GPIO_InitStruct.Pin = SAI2_SDB_Pin;
  GPIO_InitStruct.Mode = GPIO_MODE_AF_PP;
  GPIO_InitStruct.Pull = GPIO_NOPULL;
  GPIO_InitStruct.Speed = GPIO_SPEED_FREQ_LOW;
  GPIO_InitStruct.Alternate = GPIO_AF10_SAI2;
  HAL_GPIO_Init(SAI2_SDB_GPIO_Port, &GPIO_InitStruct);

  /*Configure GPIO pin : OTG_FS_PowerSwitchOn_Pin */
  GPIO_InitStruct.Pin = OTG_FS_PowerSwitchOn_Pin;
  GPIO_InitStruct.Mode = GPIO_MODE_OUTPUT_PP;
  GPIO_InitStruct.Pull = GPIO_NOPULL;
  GPIO_InitStruct.Speed = GPIO_SPEED_FREQ_LOW;
  HAL_GPIO_Init(OTG_FS_PowerSwitchOn_GPIO_Port, &GPIO_InitStruct);

  /*Configure GPIO pin : DCMI_D5_Pin */
  GPIO_InitStruct.Pin = DCMI_D5_Pin;
  GPIO_InitStruct.Mode = GPIO_MODE_AF_PP;
  GPIO_InitStruct.Pull = GPIO_NOPULL;
  GPIO_InitStruct.Speed = GPIO_SPEED_FREQ_LOW;
  GPIO_InitStruct.Alternate = GPIO_AF13_DCMI;
  HAL_GPIO_Init(DCMI_D5_GPIO_Port, &GPIO_InitStruct);

  /*Configure GPIO pins : ARDUINO_D7_Pin ARDUINO_D8_Pin LCD_DISP_Pin */
  GPIO_InitStruct.Pin = ARDUINO_D7_Pin|ARDUINO_D8_Pin|LCD_DISP_Pin;
  GPIO_InitStruct.Mode = GPIO_MODE_OUTPUT_PP;
  GPIO_InitStruct.Pull = GPIO_NOPULL;
  GPIO_InitStruct.Speed = GPIO_SPEED_FREQ_LOW;
  HAL_GPIO_Init(GPIOI, &GPIO_InitStruct);

  /*Configure GPIO pin : uSD_Detect_Pin */
  GPIO_InitStruct.Pin = uSD_Detect_Pin;
  GPIO_InitStruct.Mode = GPIO_MODE_INPUT;
  GPIO_InitStruct.Pull = GPIO_NOPULL;
  HAL_GPIO_Init(uSD_Detect_GPIO_Port, &GPIO_InitStruct);

  /*Configure GPIO pins : FMC_A0_Pin FMC_A1_Pin FMC_A2_Pin FMC_A3_Pin
                           FMC_A4_Pin FMC_A5_Pin FMC_A6_Pin FMC_A9_Pin
                           FMC_A7_Pin FMC_A8_Pin FMC_SDNRAS_Pin */
  GPIO_InitStruct.Pin = FMC_A0_Pin|FMC_A1_Pin|FMC_A2_Pin|FMC_A3_Pin
                          |FMC_A4_Pin|FMC_A5_Pin|FMC_A6_Pin|FMC_A9_Pin
                          |FMC_A7_Pin|FMC_A8_Pin|FMC_SDNRAS_Pin;
  GPIO_InitStruct.Mode = GPIO_MODE_AF_PP;
  GPIO_InitStruct.Pull = GPIO_NOPULL;
  GPIO_InitStruct.Speed = GPIO_SPEED_FREQ_VERY_HIGH;
  GPIO_InitStruct.Alternate = GPIO_AF12_FMC;
  HAL_GPIO_Init(GPIOF, &GPIO_InitStruct);

  /*Configure GPIO pins : LCD_HSYNC_Pin LCD_VSYNC_Pin LCD_R0_Pin LCD_CLK_Pin */
  GPIO_InitStruct.Pin = LCD_HSYNC_Pin|LCD_VSYNC_Pin|LCD_R0_Pin|LCD_CLK_Pin;
  GPIO_InitStruct.Mode = GPIO_MODE_AF_PP;
  GPIO_InitStruct.Pull = GPIO_NOPULL;
  GPIO_InitStruct.Speed = GPIO_SPEED_FREQ_LOW;
  GPIO_InitStruct.Alternate = GPIO_AF14_LTDC;
  HAL_GPIO_Init(GPIOI, &GPIO_InitStruct);

  /*Configure GPIO pin : LCD_BL_CTRL_Pin */
  GPIO_InitStruct.Pin = LCD_BL_CTRL_Pin;
  GPIO_InitStruct.Mode = GPIO_MODE_OUTPUT_PP;
  GPIO_InitStruct.Pull = GPIO_NOPULL;
  GPIO_InitStruct.Speed = GPIO_SPEED_FREQ_LOW;
  HAL_GPIO_Init(LCD_BL_CTRL_GPIO_Port, &GPIO_InitStruct);

  /*Configure GPIO pin : DCMI_VSYNC_Pin */
  GPIO_InitStruct.Pin = DCMI_VSYNC_Pin;
  GPIO_InitStruct.Mode = GPIO_MODE_AF_PP;
  GPIO_InitStruct.Pull = GPIO_NOPULL;
  GPIO_InitStruct.Speed = GPIO_SPEED_FREQ_LOW;
  GPIO_InitStruct.Alternate = GPIO_AF13_DCMI;
  HAL_GPIO_Init(DCMI_VSYNC_GPIO_Port, &GPIO_InitStruct);

  /*Configure GPIO pin : OTG_FS_OverCurrent_Pin */
  GPIO_InitStruct.Pin = OTG_FS_OverCurrent_Pin;
  GPIO_InitStruct.Mode = GPIO_MODE_INPUT;
  GPIO_InitStruct.Pull = GPIO_NOPULL;
  HAL_GPIO_Init(OTG_FS_OverCurrent_GPIO_Port, &GPIO_InitStruct);

  /*Configure GPIO pin : SDMMC_D0_Pin */
  GPIO_InitStruct.Pin = SDMMC_D0_Pin;
  GPIO_InitStruct.Mode = GPIO_MODE_AF_PP;
  GPIO_InitStruct.Pull = GPIO_NOPULL;
  GPIO_InitStruct.Speed = GPIO_SPEED_FREQ_VERY_HIGH;
  GPIO_InitStruct.Alternate = GPIO_AF12_SDMMC1;
  HAL_GPIO_Init(SDMMC_D0_GPIO_Port, &GPIO_InitStruct);

  /*Configure GPIO pins : TP3_Pin NC2_Pin */
  GPIO_InitStruct.Pin = TP3_Pin|NC2_Pin;
  GPIO_InitStruct.Mode = GPIO_MODE_INPUT;
  GPIO_InitStruct.Pull = GPIO_NOPULL;
  HAL_GPIO_Init(GPIOH, &GPIO_InitStruct);

  /*Configure GPIO pin : ARDUINO_SCK_D13_Pin */
  GPIO_InitStruct.Pin = ARDUINO_SCK_D13_Pin;
  GPIO_InitStruct.Mode = GPIO_MODE_AF_PP;
  GPIO_InitStruct.Pull = GPIO_NOPULL;
  GPIO_InitStruct.Speed = GPIO_SPEED_FREQ_LOW;
  GPIO_InitStruct.Alternate = GPIO_AF5_SPI2;
  HAL_GPIO_Init(ARDUINO_SCK_D13_GPIO_Port, &GPIO_InitStruct);

  /*Configure GPIO pin : DCMI_PWR_EN_Pin */
  GPIO_InitStruct.Pin = DCMI_PWR_EN_Pin;
  GPIO_InitStruct.Mode = GPIO_MODE_OUTPUT_PP;
  GPIO_InitStruct.Pull = GPIO_NOPULL;
  GPIO_InitStruct.Speed = GPIO_SPEED_FREQ_LOW;
  HAL_GPIO_Init(DCMI_PWR_EN_GPIO_Port, &GPIO_InitStruct);

  /*Configure GPIO pins : DCMI_D4_Pin DCMI_D3_Pin DCMI_D0_Pin DCMI_D2_Pin
                           DCMI_D1_Pin */
  GPIO_InitStruct.Pin = DCMI_D4_Pin|DCMI_D3_Pin|DCMI_D0_Pin|DCMI_D2_Pin
                          |DCMI_D1_Pin;
  GPIO_InitStruct.Mode = GPIO_MODE_AF_PP;
  GPIO_InitStruct.Pull = GPIO_NOPULL;
  GPIO_InitStruct.Speed = GPIO_SPEED_FREQ_LOW;
  GPIO_InitStruct.Alternate = GPIO_AF13_DCMI;
  HAL_GPIO_Init(GPIOH, &GPIO_InitStruct);

  /*Configure GPIO pin : ARDUINO_PWM_CS_D5_Pin */
  GPIO_InitStruct.Pin = ARDUINO_PWM_CS_D5_Pin;
  GPIO_InitStruct.Mode = GPIO_MODE_AF_PP;
  GPIO_InitStruct.Pull = GPIO_NOPULL;
  GPIO_InitStruct.Speed = GPIO_SPEED_FREQ_LOW;
  GPIO_InitStruct.Alternate = GPIO_AF2_TIM5;
  HAL_GPIO_Init(ARDUINO_PWM_CS_D5_GPIO_Port, &GPIO_InitStruct);

  /*Configure GPIO pin : ARDUINO_PWM_D10_Pin */
  GPIO_InitStruct.Pin = ARDUINO_PWM_D10_Pin;
  GPIO_InitStruct.Mode = GPIO_MODE_AF_PP;
  GPIO_InitStruct.Pull = GPIO_NOPULL;
  GPIO_InitStruct.Speed = GPIO_SPEED_FREQ_LOW;
  GPIO_InitStruct.Alternate = GPIO_AF1_TIM1;
  HAL_GPIO_Init(ARDUINO_PWM_D10_GPIO_Port, &GPIO_InitStruct);

  /*Configure GPIO pin : LCD_INT_Pin */
  GPIO_InitStruct.Pin = LCD_INT_Pin;
  GPIO_InitStruct.Mode = GPIO_MODE_EVT_RISING;
  GPIO_InitStruct.Pull = GPIO_NOPULL;
  HAL_GPIO_Init(LCD_INT_GPIO_Port, &GPIO_InitStruct);

  /*Configure GPIO pins : ARDUINO_RX_D0_Pin ARDUINO_TX_D1_Pin */
  GPIO_InitStruct.Pin = ARDUINO_RX_D0_Pin|ARDUINO_TX_D1_Pin;
  GPIO_InitStruct.Mode = GPIO_MODE_AF_PP;
  GPIO_InitStruct.Pull = GPIO_NOPULL;
  GPIO_InitStruct.Speed = GPIO_SPEED_FREQ_VERY_HIGH;
  GPIO_InitStruct.Alternate = GPIO_AF8_USART6;
  HAL_GPIO_Init(GPIOC, &GPIO_InitStruct);

  /*Configure GPIO pin : ULPI_NXT_Pin */
  GPIO_InitStruct.Pin = ULPI_NXT_Pin;
  GPIO_InitStruct.Mode = GPIO_MODE_AF_PP;
  GPIO_InitStruct.Pull = GPIO_NOPULL;
  GPIO_InitStruct.Speed = GPIO_SPEED_FREQ_VERY_HIGH;
  GPIO_InitStruct.Alternate = GPIO_AF10_OTG_HS;
  HAL_GPIO_Init(ULPI_NXT_GPIO_Port, &GPIO_InitStruct);

  /*Configure GPIO pins : FMC_SDNME_Pin FMC_SDNE0_Pin */
  GPIO_InitStruct.Pin = FMC_SDNME_Pin|FMC_SDNE0_Pin;
  GPIO_InitStruct.Mode = GPIO_MODE_AF_PP;
  GPIO_InitStruct.Pull = GPIO_NOPULL;
  GPIO_InitStruct.Speed = GPIO_SPEED_FREQ_VERY_HIGH;
  GPIO_InitStruct.Alternate = GPIO_AF12_FMC;
  HAL_GPIO_Init(GPIOH, &GPIO_InitStruct);

  /*Configure GPIO pins : ARDUINO_D4_Pin ARDUINO_D2_Pin EXT_RST_Pin */
  GPIO_InitStruct.Pin = ARDUINO_D4_Pin|ARDUINO_D2_Pin|EXT_RST_Pin;
  GPIO_InitStruct.Mode = GPIO_MODE_OUTPUT_PP;
  GPIO_InitStruct.Pull = GPIO_NOPULL;
  GPIO_InitStruct.Speed = GPIO_SPEED_FREQ_LOW;
  HAL_GPIO_Init(GPIOG, &GPIO_InitStruct);

  /*Configure GPIO pins : ARDUINO_A4_Pin ARDUINO_A5_Pin ARDUINO_A1_Pin ARDUINO_A2_Pin
                           ARDUINO_A3_Pin */
  GPIO_InitStruct.Pin = ARDUINO_A4_Pin|ARDUINO_A5_Pin|ARDUINO_A1_Pin|ARDUINO_A2_Pin
                          |ARDUINO_A3_Pin;
  GPIO_InitStruct.Mode = GPIO_MODE_ANALOG;
  GPIO_InitStruct.Pull = GPIO_NOPULL;
  HAL_GPIO_Init(GPIOF, &GPIO_InitStruct);

  /*Configure GPIO pin : FMC_SDCKE0_Pin */
  GPIO_InitStruct.Pin = FMC_SDCKE0_Pin;
  GPIO_InitStruct.Mode = GPIO_MODE_AF_PP;
  GPIO_InitStruct.Pull = GPIO_NOPULL;
  GPIO_InitStruct.Speed = GPIO_SPEED_FREQ_VERY_HIGH;
  GPIO_InitStruct.Alternate = GPIO_AF12_FMC;
  HAL_GPIO_Init(FMC_SDCKE0_GPIO_Port, &GPIO_InitStruct);

  /*Configure GPIO pins : ULPI_STP_Pin ULPI_DIR_Pin */
  GPIO_InitStruct.Pin = ULPI_STP_Pin|ULPI_DIR_Pin;
  GPIO_InitStruct.Mode = GPIO_MODE_AF_PP;
  GPIO_InitStruct.Pull = GPIO_NOPULL;
  GPIO_InitStruct.Speed = GPIO_SPEED_FREQ_VERY_HIGH;
  GPIO_InitStruct.Alternate = GPIO_AF10_OTG_HS;
  HAL_GPIO_Init(GPIOC, &GPIO_InitStruct);

  /*Configure GPIO pins : RMII_MDC_Pin RMII_RXD0_Pin RMII_RXD1_Pin */
  GPIO_InitStruct.Pin = RMII_MDC_Pin|RMII_RXD0_Pin|RMII_RXD1_Pin;
  GPIO_InitStruct.Mode = GPIO_MODE_AF_PP;
  GPIO_InitStruct.Pull = GPIO_NOPULL;
  GPIO_InitStruct.Speed = GPIO_SPEED_FREQ_VERY_HIGH;
  GPIO_InitStruct.Alternate = GPIO_AF11_ETH;
  HAL_GPIO_Init(GPIOC, &GPIO_InitStruct);

  /*Configure GPIO pin : PB2 */
  GPIO_InitStruct.Pin = GPIO_PIN_2;
  GPIO_InitStruct.Mode = GPIO_MODE_AF_PP;
  GPIO_InitStruct.Pull = GPIO_NOPULL;
  GPIO_InitStruct.Speed = GPIO_SPEED_FREQ_VERY_HIGH;
  GPIO_InitStruct.Alternate = GPIO_AF9_QUADSPI;
  HAL_GPIO_Init(GPIOB, &GPIO_InitStruct);

  /*Configure GPIO pins : QSPI_D1_Pin QSPI_D3_Pin QSPI_D0_Pin */
  GPIO_InitStruct.Pin = QSPI_D1_Pin|QSPI_D3_Pin|QSPI_D0_Pin;
  GPIO_InitStruct.Mode = GPIO_MODE_AF_PP;
  GPIO_InitStruct.Pull = GPIO_NOPULL;
  GPIO_InitStruct.Speed = GPIO_SPEED_FREQ_VERY_HIGH;
  GPIO_InitStruct.Alternate = GPIO_AF9_QUADSPI;
  HAL_GPIO_Init(GPIOD, &GPIO_InitStruct);

  /*Configure GPIO pin : RMII_RXER_Pin */
  GPIO_InitStruct.Pin = RMII_RXER_Pin;
  GPIO_InitStruct.Mode = GPIO_MODE_INPUT;
  GPIO_InitStruct.Pull = GPIO_NOPULL;
  HAL_GPIO_Init(RMII_RXER_GPIO_Port, &GPIO_InitStruct);

  /*Configure GPIO pins : RMII_REF_CLK_Pin RMII_MDIO_Pin RMII_CRS_DV_Pin */
  GPIO_InitStruct.Pin = RMII_REF_CLK_Pin|RMII_MDIO_Pin|RMII_CRS_DV_Pin;
  GPIO_InitStruct.Mode = GPIO_MODE_AF_PP;
  GPIO_InitStruct.Pull = GPIO_NOPULL;
  GPIO_InitStruct.Speed = GPIO_SPEED_FREQ_VERY_HIGH;
  GPIO_InitStruct.Alternate = GPIO_AF11_ETH;
  HAL_GPIO_Init(GPIOA, &GPIO_InitStruct);

  /*Configure GPIO pin : ARDUINO_A0_Pin */
  GPIO_InitStruct.Pin = ARDUINO_A0_Pin;
  GPIO_InitStruct.Mode = GPIO_MODE_ANALOG;
  GPIO_InitStruct.Pull = GPIO_NOPULL;
  HAL_GPIO_Init(ARDUINO_A0_GPIO_Port, &GPIO_InitStruct);

  /*Configure GPIO pins : DCMI_HSYNC_Pin PA6 */
  GPIO_InitStruct.Pin = DCMI_HSYNC_Pin|GPIO_PIN_6;
  GPIO_InitStruct.Mode = GPIO_MODE_AF_PP;
  GPIO_InitStruct.Pull = GPIO_NOPULL;
  GPIO_InitStruct.Speed = GPIO_SPEED_FREQ_LOW;
  GPIO_InitStruct.Alternate = GPIO_AF13_DCMI;
  HAL_GPIO_Init(GPIOA, &GPIO_InitStruct);

  /*Configure GPIO pins : LCD_SCL_Pin LCD_SDA_Pin */
  GPIO_InitStruct.Pin = LCD_SCL_Pin|LCD_SDA_Pin;
  GPIO_InitStruct.Mode = GPIO_MODE_AF_OD;
  GPIO_InitStruct.Pull = GPIO_NOPULL;
  GPIO_InitStruct.Speed = GPIO_SPEED_FREQ_VERY_HIGH;
  GPIO_InitStruct.Alternate = GPIO_AF4_I2C3;
  HAL_GPIO_Init(GPIOH, &GPIO_InitStruct);

  /*Configure GPIO pins : ULPI_CLK_Pin ULPI_D0_Pin */
  GPIO_InitStruct.Pin = ULPI_CLK_Pin|ULPI_D0_Pin;
  GPIO_InitStruct.Mode = GPIO_MODE_AF_PP;
  GPIO_InitStruct.Pull = GPIO_NOPULL;
  GPIO_InitStruct.Speed = GPIO_SPEED_FREQ_VERY_HIGH;
  GPIO_InitStruct.Alternate = GPIO_AF10_OTG_HS;
  HAL_GPIO_Init(GPIOA, &GPIO_InitStruct);

  /*Configure GPIO pin : ARDUINO_PWM_D6_Pin */
  GPIO_InitStruct.Pin = ARDUINO_PWM_D6_Pin;
  GPIO_InitStruct.Mode = GPIO_MODE_AF_PP;
  GPIO_InitStruct.Pull = GPIO_NOPULL;
  GPIO_InitStruct.Speed = GPIO_SPEED_FREQ_LOW;
  GPIO_InitStruct.Alternate = GPIO_AF9_TIM12;
  HAL_GPIO_Init(ARDUINO_PWM_D6_GPIO_Port, &GPIO_InitStruct);

  /*Configure GPIO pins : ARDUINO_MISO_D12_Pin ARDUINO_MOSI_PWM_D11_Pin */
  GPIO_InitStruct.Pin = ARDUINO_MISO_D12_Pin|ARDUINO_MOSI_PWM_D11_Pin;
  GPIO_InitStruct.Mode = GPIO_MODE_AF_PP;
  GPIO_InitStruct.Pull = GPIO_NOPULL;
  GPIO_InitStruct.Speed = GPIO_SPEED_FREQ_LOW;
  GPIO_InitStruct.Alternate = GPIO_AF5_SPI2;
  HAL_GPIO_Init(GPIOB, &GPIO_InitStruct);

}

void Error_Handler(void)
{
  __disable_irq();
  while (1)
  {
  }
}
